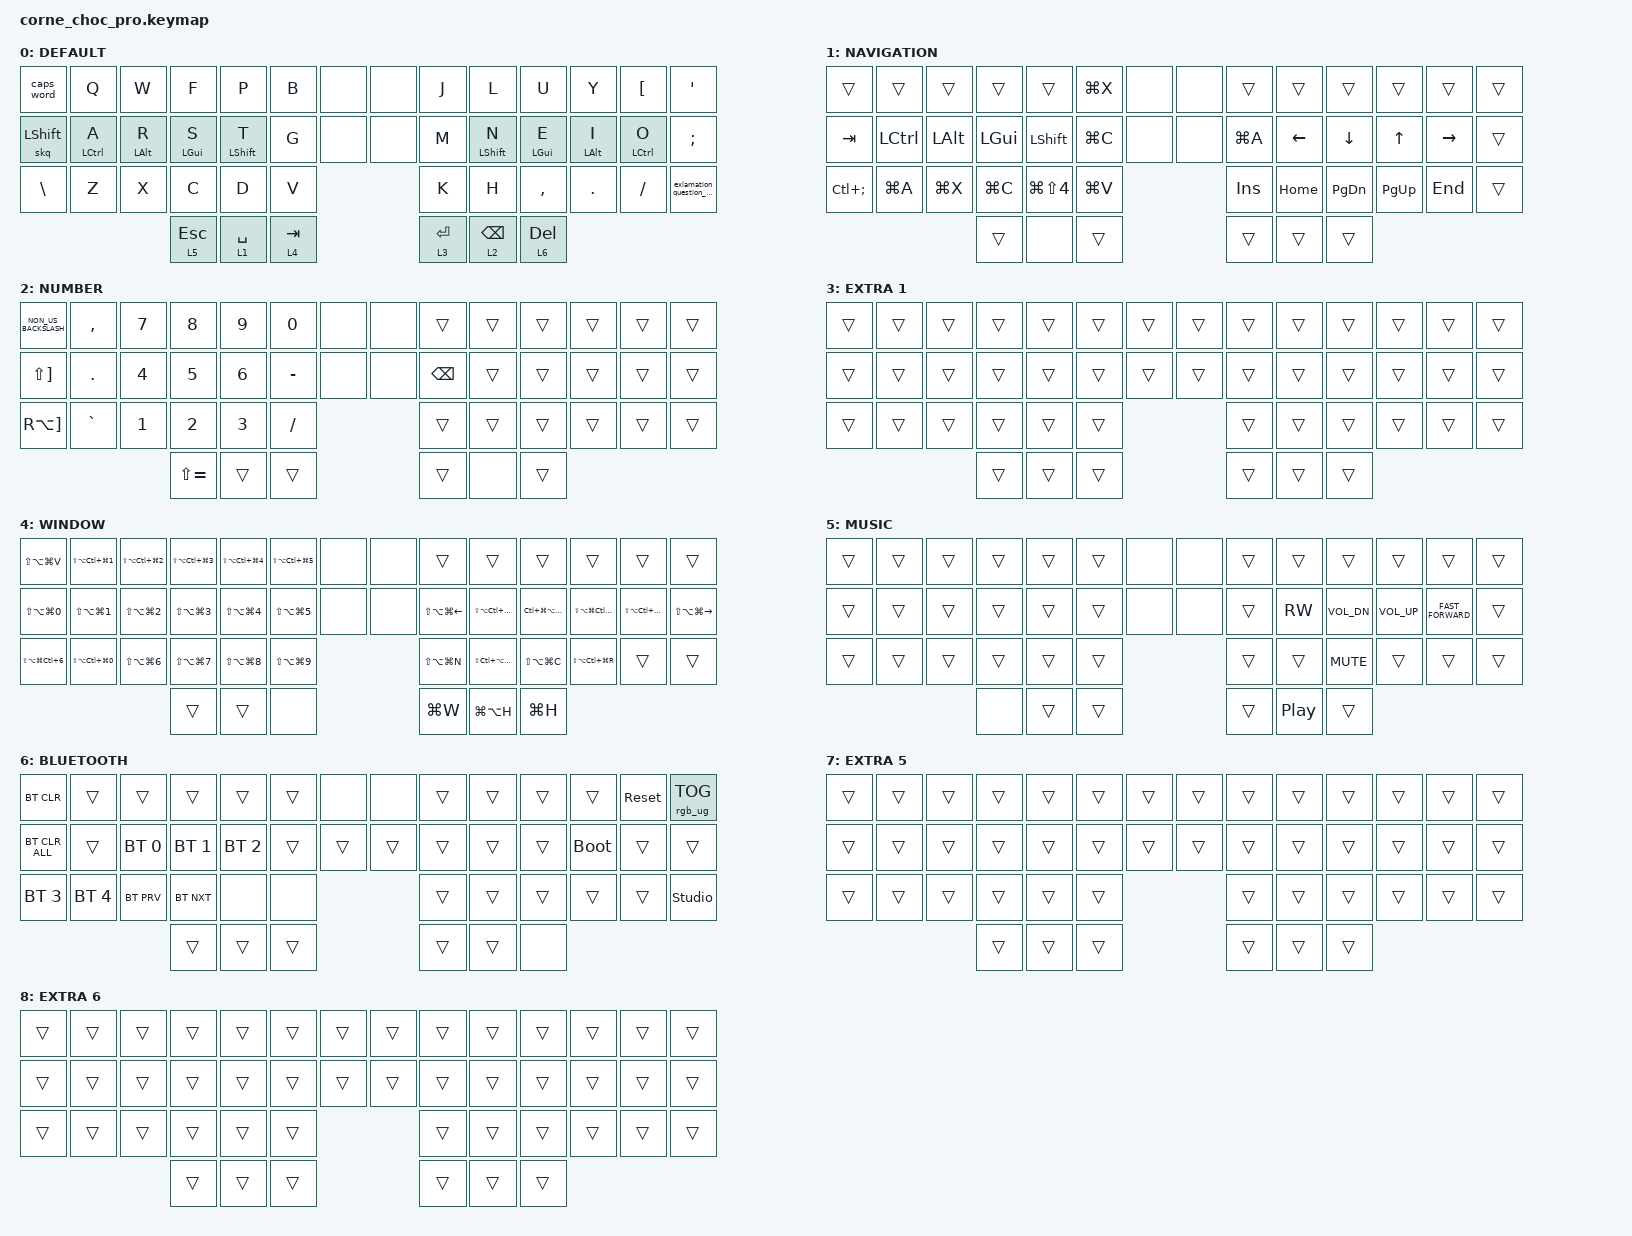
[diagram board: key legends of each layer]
/*
 * Copyright (c) 2020 The ZMK Contributors
 *
 * SPDX-License-Identifier: MIT
 */

#include <behaviors.dtsi>
#include <dt-bindings/zmk/keys.h>
#include <dt-bindings/zmk/bt.h>
#include <dt-bindings/zmk/rgb.h>

/*              Corne KEEBART
  ╭────────────────────────┬─────────┬────────────────────────╮ 
  │  0   1   2   3   4   5 │   6 7   │ 8   9   10  11  12  13 │ 
  │ 14  15  16  17  18  19 │  20 21  │ 22  23  24  25  26  27 │ 
  │ 28  29  30  31  32  33 │         │ 34  35  36  37  38  39 │ 
  │             40  41  42 │         │ 43  44  45             │ 
  ╰────────────────────────┴─────────┴────────────────────────╯             */

#define KEYS_L 0 1 2 3 4 5 14 15 16 17 18 19 28 29 30 31 32 33
#define KEYS_R 8 9 10 11 12 13 22 23 24 25 26 27 34 35 36 37 38 39
#define KEYS_T 40 41 42 43 44 45

// Homerow mods
#define HRM_BEHAVIOR "tap-preferred"
#define HRM_TAPPING_TERM_MS 180
#define HRM_REQUIRE_PRIOR_IDLE_MS 80
#define HRM_QUICK_TAP_MS 160
#define COMBO_TIMEOUT_MS 30
#define COMBO_REQUIRE_PRIOR_IDLE_MS 80

/ {
    chosen {
        zmk,physical-layout = &default_layout;
    };
};

/ {
    hml: homerow_mods_left {
        compatible = "zmk,behavior-hold-tap";
        label = "HOMEROW_MODS_LEFT";
        flavor =
        HRM_BEHAVIOR;
        tapping-term-ms = <HRM_TAPPING_TERM_MS>;
        quick-tap-ms = <HRM_QUICK_TAP_MS>;
        require-prior-idle-ms = <HRM_REQUIRE_PRIOR_IDLE_MS>;
        hold-trigger-key-positions = <KEYS_R KEYS_T>;
        hold-trigger-on-release;
        #binding-cells = <2>;
        bindings = <&kp>, <&kp>;
    };

    hmr: homerow_mods_right {
        compatible = "zmk,behavior-hold-tap";
        label = "HOMEROW_MODS_RIGHT";
        flavor =
        HRM_BEHAVIOR;
        tapping-term-ms = <HRM_TAPPING_TERM_MS>;
        quick-tap-ms = <HRM_QUICK_TAP_MS>;
        require-prior-idle-ms = <HRM_REQUIRE_PRIOR_IDLE_MS>;
        hold-trigger-key-positions = <KEYS_L KEYS_T>;
        hold-trigger-on-release;
        #binding-cells = <2>;
        bindings = <&kp>, <&kp>;
    };

    exlamation_question_mark: exlamation_question_mark {
        compatible = "zmk,behavior-mod-morph";
        label = "EXLAMATION_QUESTION_MARK";
        bindings = <&kp LS(NUMBER_1)>, <&kp MINUS>;

        #binding-cells = <0>;
        mods = <(MOD_LSFT)>;
        keep-mods = <(MOD_LSFT)>;
    };

    thumb_layers: thumb_layers {
        compatible = "zmk,behavior-hold-tap";
        label = "THUMB_LAYERS";
        flavor =
        HRM_BEHAVIOR;
        tapping-term-ms = <HRM_TAPPING_TERM_MS>;
        quick-tap-ms = <HRM_QUICK_TAP_MS>;
        require-prior-idle-ms = <HRM_REQUIRE_PRIOR_IDLE_MS>;
        hold-trigger-on-release;
        #binding-cells = <2>;
        bindings = <&mo>, <&kp>;
    };

    behaviors {
        skq: sticky_key_quick_release {
            compatible = "zmk,behavior-sticky-key";
            #binding-cells = <1>;
            bindings = <&kp>;
            release-after-ms = <1000>;
            quick-release;
            ignore-modifiers;
        };
    };

    combos {
        compatible = "zmk,combos";

        left_parenthesis {
            bindings = <&kp LS(N8)>;
            key-positions = <17 18>;
            layers = <0>;
            require-prior-idle-ms = <COMBO_REQUIRE_PRIOR_IDLE_MS>;
            timeout-ms = <COMBO_TIMEOUT_MS>;
        };

        right_parenthesis {
            bindings = <&kp LS(N9)>;
            key-positions = <23 24>;
            layers = <0>;
            require-prior-idle-ms = <COMBO_REQUIRE_PRIOR_IDLE_MS>;
            timeout-ms = <COMBO_TIMEOUT_MS>;
        };

        left_bracket {
            bindings = <&kp LA(N8)>;
            key-positions = <16 18>;
            timeout-ms = <COMBO_TIMEOUT_MS>;
            require-prior-idle-ms = <COMBO_REQUIRE_PRIOR_IDLE_MS>;
            layers = <0>;
        };

        right_bracket {
            bindings = <&kp LA(N9)>;
            key-positions = <23 25>;
            timeout-ms = <COMBO_TIMEOUT_MS>;
            require-prior-idle-ms = <COMBO_REQUIRE_PRIOR_IDLE_MS>;
            layers = <0>;
        };

        left_curly {
            bindings = <&kp LA(LS(N8))>;
            key-positions = <15 18>;
            timeout-ms = <COMBO_TIMEOUT_MS>;
            require-prior-idle-ms = <COMBO_REQUIRE_PRIOR_IDLE_MS>;
            layers = <0>;
        };

        right_curly {
            bindings = <&kp LA(LS(N9))>;
            key-positions = <23 26>;
            timeout-ms = <COMBO_TIMEOUT_MS>;
            require-prior-idle-ms = <COMBO_REQUIRE_PRIOR_IDLE_MS>;
            layers = <0>;
        };

        less_than {
            bindings = <&kp GRAVE>;
            key-positions = <17 19>;
            timeout-ms = <COMBO_TIMEOUT_MS>;
            require-prior-idle-ms = <COMBO_REQUIRE_PRIOR_IDLE_MS>;
            layers = <0>;
        };

        greater_than {
            bindings = <&kp LS(GRAVE)>;
            key-positions = <22 24>;
            timeout-ms = <COMBO_TIMEOUT_MS>;
            require-prior-idle-ms = <COMBO_REQUIRE_PRIOR_IDLE_MS>;
            layers = <0>;
        };

        equal {
            bindings = <&kp LS(N0)>;
            key-positions = <5 3>;
            timeout-ms = <COMBO_TIMEOUT_MS>;
            require-prior-idle-ms = <COMBO_REQUIRE_PRIOR_IDLE_MS>;
            layers = <0>;
        };

        star {
            bindings = <&kp LS(BACKSLASH)>;
            key-positions = <18 19>;
            timeout-ms = <COMBO_TIMEOUT_MS>;
            require-prior-idle-ms = <COMBO_REQUIRE_PRIOR_IDLE_MS>;
            layers = <0>;
        };

        quote {
            bindings = <&kp LS(NUMBER_2)>;
            key-positions = <31 32>;
            timeout-ms = <COMBO_TIMEOUT_MS>;
            require-prior-idle-ms = <COMBO_REQUIRE_PRIOR_IDLE_MS>;
            layers = <0>;
        };

        hash {
            bindings = <&kp LS(NUMBER_3)>;
            key-positions = <32 30>;
            timeout-ms = <COMBO_TIMEOUT_MS>;
            require-prior-idle-ms = <COMBO_REQUIRE_PRIOR_IDLE_MS>;
            layers = <0>;
        };

        tilde {
            bindings = <&kp RA(RIGHT_BRACKET)>;
            key-positions = <1 2>;
            timeout-ms = <COMBO_TIMEOUT_MS>;
            require-prior-idle-ms = <COMBO_REQUIRE_PRIOR_IDLE_MS>;
            layers = <0>;
        };

        plus {
            bindings = <&kp MINUS>;
            key-positions = <3 4>;
            timeout-ms = <COMBO_TIMEOUT_MS>;
            require-prior-idle-ms = <COMBO_REQUIRE_PRIOR_IDLE_MS>;
            layers = <0>;
        };

        forward_slash {
            bindings = <&kp LS(N7)>;
            key-positions = <4 2>;
            timeout-ms = <COMBO_TIMEOUT_MS>;
            require-prior-idle-ms = <COMBO_REQUIRE_PRIOR_IDLE_MS>;
            layers = <0>;
        };

        backward_slash {
            bindings = <&kp LS(LA(N7))>;
            key-positions = <2 3>;
            timeout-ms = <COMBO_TIMEOUT_MS>;
            require-prior-idle-ms = <COMBO_REQUIRE_PRIOR_IDLE_MS>;
            layers = <0>;
        };

        n_1 {
            bindings = <&kp NUMBER_1>;
            key-positions = <41 30>;
            timeout-ms = <COMBO_TIMEOUT_MS>;
            require-prior-idle-ms = <COMBO_REQUIRE_PRIOR_IDLE_MS>;
            layers = <0>;
        };

        n_2 {
            bindings = <&kp NUMBER_2>;
            key-positions = <41 31>;
            timeout-ms = <COMBO_TIMEOUT_MS>;
            require-prior-idle-ms = <COMBO_REQUIRE_PRIOR_IDLE_MS>;
            layers = <0>;
        };

        n_3 {
            bindings = <&kp NUMBER_3>;
            key-positions = <41 32>;
            timeout-ms = <COMBO_TIMEOUT_MS>;
            require-prior-idle-ms = <COMBO_REQUIRE_PRIOR_IDLE_MS>;
            layers = <0>;
        };

        n_4 {
            bindings = <&kp NUMBER_4>;
            key-positions = <41 16>;
            timeout-ms = <COMBO_TIMEOUT_MS>;
            require-prior-idle-ms = <COMBO_REQUIRE_PRIOR_IDLE_MS>;
            layers = <0>;
        };

        n_5 {
            bindings = <&kp N5>;
            key-positions = <41 17>;
            timeout-ms = <COMBO_TIMEOUT_MS>;
            require-prior-idle-ms = <COMBO_REQUIRE_PRIOR_IDLE_MS>;
            layers = <0>;
        };

        n_6 {
            bindings = <&kp NUMBER_6>;
            key-positions = <41 18>;
            timeout-ms = <COMBO_TIMEOUT_MS>;
            require-prior-idle-ms = <COMBO_REQUIRE_PRIOR_IDLE_MS>;
            layers = <0>;
        };

        n_7 {
            bindings = <&kp N7>;
            key-positions = <41 2>;
            timeout-ms = <COMBO_TIMEOUT_MS>;
            require-prior-idle-ms = <COMBO_REQUIRE_PRIOR_IDLE_MS>;
            layers = <0>;
        };

        n_8 {
            bindings = <&kp N8>;
            key-positions = <41 3>;
            timeout-ms = <COMBO_TIMEOUT_MS>;
            require-prior-idle-ms = <COMBO_REQUIRE_PRIOR_IDLE_MS>;
            layers = <0>;
        };

        n_9 {
            bindings = <&kp N9>;
            key-positions = <41 4>;
            timeout-ms = <COMBO_TIMEOUT_MS>;
            require-prior-idle-ms = <COMBO_REQUIRE_PRIOR_IDLE_MS>;
            layers = <0>;
        };

        n_0 {
            bindings = <&kp N0>;
            key-positions = <41 5>;
            timeout-ms = <COMBO_TIMEOUT_MS>;
            require-prior-idle-ms = <COMBO_REQUIRE_PRIOR_IDLE_MS>;
            layers = <0>;
        };

        underscore {
            bindings = <&kp LS(FSLH)>;
            key-positions = <35 36>;
            timeout-ms = <COMBO_TIMEOUT_MS>;
            require-prior-idle-ms = <COMBO_REQUIRE_PRIOR_IDLE_MS>;
            layers = <0>;
        };

        colon {
            bindings = <&kp LS(PERIOD)>;
            key-positions = <36 37>;
            timeout-ms = <COMBO_TIMEOUT_MS>;
            require-prior-idle-ms = <COMBO_REQUIRE_PRIOR_IDLE_MS>;
            layers = <0>;
        };

        semi_colon {
            bindings = <&kp LS(COMMA)>;
            key-positions = <35 37>;
            timeout-ms = <COMBO_TIMEOUT_MS>;
            require-prior-idle-ms = <COMBO_REQUIRE_PRIOR_IDLE_MS>;
            layers = <0>;
        };

        at_sign {
            bindings = <&kp LA(NUMBER_2)>;
            key-positions = <30 31>;
            timeout-ms = <COMBO_TIMEOUT_MS>;
            require-prior-idle-ms = <COMBO_REQUIRE_PRIOR_IDLE_MS>;
            layers = <0>;
        };

        ampersand {
            bindings = <&kp LS(NUMBER_6)>;
            key-positions = <32 33>;
            timeout-ms = <COMBO_TIMEOUT_MS>;
            require-prior-idle-ms = <COMBO_REQUIRE_PRIOR_IDLE_MS>;
            layers = <0>;
        };

        percent {
            bindings = <&kp LS(N5)>;
            key-positions = <32 29>;
            timeout-ms = <COMBO_TIMEOUT_MS>;
            require-prior-idle-ms = <COMBO_REQUIRE_PRIOR_IDLE_MS>;
            layers = <0>;
        };

        pipe {
            bindings = <&kp LA(N7)>;
            key-positions = <33 31>;
            timeout-ms = <COMBO_TIMEOUT_MS>;
            require-prior-idle-ms = <COMBO_REQUIRE_PRIOR_IDLE_MS>;
            layers = <0>;
        };

        string_literal {
            bindings = <&kp LS(EQUAL)>;
            key-positions = <22 23>;
            timeout-ms = <COMBO_TIMEOUT_MS>;
            require-prior-idle-ms = <COMBO_REQUIRE_PRIOR_IDLE_MS>;
            layers = <0>;
        };
    };
    keymap {
        compatible = "zmk,keymap";

        default_layer {
            display-name = "DEFAULT";
            bindings = <
                &caps_word              &kp Q                &kp W                  &kp F                  &kp P                  &kp B                 &none &none                 &kp J                  &kp L                      &kp U                   &kp Y            &kp LBKT      &kp SQT
                &skq LSHFT              &hml LCTRL A         &hml LEFT_ALT R        &hml LEFT_GUI S        &hml LEFT_SHIFT T      &kp G                 &none &none                 &kp M                  &hmr LSHIFT N              &hmr LGUI E             &hmr LEFT_ALT I  &hmr LCTRL O  &kp SEMI
                &kp BACKSLASH           &kp Z                &kp X                  &kp C                  &kp D                  &kp V                                             &kp K                  &kp H                      &kp COMMA               &kp DOT          &kp FSLH      &exlamation_question_mark
                                                                                    &thumb_layers 5 ESC    &thumb_layers 1 SPACE  &thumb_layers 4 TAB                               &thumb_layers 3 ENTER  &thumb_layers 2 BACKSPACE  &thumb_layers 6 DELETE
            >;
        };

        LAYER1 {
            display-name = "NAVIGATION";
            bindings = <
                &trans        &trans            &trans        &trans        &trans                &kp LG(X)  &none  &none  &trans      &trans    &trans         &trans        &trans     &trans
                &kp TAB       &kp LEFT_CONTROL  &kp LEFT_ALT  &kp LEFT_GUI  &kp LEFT_SHIFT        &kp LG(C)  &none  &none  &kp LG(A)   &kp LEFT  &kp DOWN       &kp UP_ARROW  &kp RIGHT  &trans
                &kp LC(SEMI)  &kp LG(A)         &kp LG(X)     &kp LG(C)     &kp LG(LS(NUMBER_4))  &kp LG(V)                &kp INSERT  &kp HOME  &kp PAGE_DOWN  &kp PAGE_UP   &kp END    &trans
                                                              &trans        &none                 &trans                   &trans      &trans    &trans
            >;
        };

        LAYER2 {
            display-name = "NUMBER";
            bindings = <
                &kp NON_US_BACKSLASH   &kp COMMA  &kp N7        &kp N8         &kp N9        &kp N0      &none  &none    &trans         &trans  &trans  &trans  &trans  &trans
                &kp LS(RIGHT_BRACKET)  &kp DOT    &kp NUMBER_4  &kp N5         &kp NUMBER_6  &kp MINUS   &none  &none    &kp BACKSPACE  &trans  &trans  &trans  &trans  &trans
                &kp RA(RIGHT_BRACKET)  &kp GRAVE  &kp NUMBER_1  &kp NUMBER_2   &kp NUMBER_3  &kp FSLH                    &trans         &trans  &trans  &trans  &trans  &trans
                                                                &kp LS(EQUAL)  &trans        &trans                      &trans         &none   &trans
            >;
        };

        LAYER3 {
            display-name = "EXTRA 1";
            bindings = <
                &trans &trans &trans &trans &trans &trans &trans &trans &trans &trans &trans &trans &trans &trans
                &trans &trans &trans &trans &trans &trans &trans &trans &trans &trans &trans &trans &trans &trans
                &trans &trans &trans &trans &trans &trans               &trans &trans &trans &trans &trans &trans
                                     &trans &trans &trans               &trans &trans &trans       
            >;
        };

        LAYER4 {
            display-name = "WINDOW";
            bindings = <
                &kp LS(LA(LG(V)))             &kp LS(LA(LC(LG(NUMBER_1))))  &kp LS(LA(LC(LG(NUMBER_2))))  &kp LS(LA(LC(LG(NUMBER_3))))  &kp LS(LA(LC(LG(NUMBER_4))))  &kp LS(LA(LC(LG(N5))))    &none  &none   &trans                &trans                    &trans                          &trans                        &trans                     &trans
                &kp LS(LA(LG(N0)))            &kp LS(LA(LG(NUMBER_1)))      &kp LS(LA(LG(NUMBER_2)))      &kp LS(LA(LG(NUMBER_3)))      &kp LS(LA(LG(NUMBER_4)))      &kp LS(LA(LG(NUMBER_5)))  &none  &none   &kp LS(LA(LG(LEFT)))  &kp LS(LA(LC(LG(LEFT))))  &kp LC(LG(LA(LS(DOWN_ARROW))))  &kp LS(LA(LG(LC(UP_ARROW))))  &kp LS(LA(LC(LG(RIGHT))))  &kp LS(LA(LG(RIGHT)))
                &kp LS(LA(LG(LC(NUMBER_6))))  &kp LS(LA(LC(LG(N0))))        &kp LS(LA(LG(NUMBER_6)))      &kp LS(LA(LG(N7)))            &kp LS(LA(LG(N8)))            &kp LS(LA(LG(N9)))                       &kp LS(LA(LG(N)))     &kp LS(LC(LA(LG(M))))     &kp LS(LA(LG(C)))               &kp LS(LA(LC(LG(R))))         &trans                     &trans
                                                                                                          &trans                        &trans                        &none                                    &kp LG(W)             &kp LG(LA(H))             &kp LG(H)
            >;
        };

        LAYER5 {
            display-name = "MUSIC";
            bindings = <
                &trans  &trans  &trans  &trans  &trans  &trans  &none  &none   &trans  &trans    &trans        &trans           &trans              &trans
                &trans  &trans  &trans  &trans  &trans  &trans  &none  &none   &trans  &kp C_RW  &kp C_VOL_DN  &kp C_VOLUME_UP  &kp C_FAST_FORWARD  &trans
                &trans  &trans  &trans  &trans  &trans  &trans                 &trans  &trans    &kp C_MUTE    &trans           &trans              &trans
                                        &none   &trans  &trans                 &trans  &kp C_PP  &trans
            >;
        };

        LAYER6 {
            display-name = "BLUETOOTH";
            bindings = <
                &bt BT_CLR      &trans  &trans        &trans        &trans        &trans      &none  &none  &trans  &trans  &trans  &trans &sys_reset   &rgb_ug RGB_TOG
                &bt BT_CLR_ALL  &trans  &bt BT_SEL 0  &bt BT_SEL 1  &bt BT_SEL 2  &trans                    &trans  &trans  &trans  &trans &trans       &bootloader
                &trans          &trans  &bt BT_SEL 3  &bt BT_SEL 4  &bt BT_PRV    &bt BT_NXT  &none  &none  &trans  &trans  &trans  &trans &trans       &studio_unlock
                                                      &trans        &trans        &trans                    &trans  &trans  &none
            >;
        };

        LAYER7 {
            display-name = "EXTRA 5";
            bindings = <
                &trans &trans &trans &trans &trans &trans &trans &trans &trans &trans &trans &trans &trans &trans
                &trans &trans &trans &trans &trans &trans &trans &trans &trans &trans &trans &trans &trans &trans
                &trans &trans &trans &trans &trans &trans               &trans &trans &trans &trans &trans &trans
                                     &trans &trans &trans               &trans &trans &trans       
            >;
        };

        LAYER8 {
            display-name = "EXTRA 6";
            bindings = <
                &trans &trans &trans &trans &trans &trans &trans &trans &trans &trans &trans &trans &trans &trans
                &trans &trans &trans &trans &trans &trans &trans &trans &trans &trans &trans &trans &trans &trans
                &trans &trans &trans &trans &trans &trans               &trans &trans &trans &trans &trans &trans
                                     &trans &trans &trans               &trans &trans &trans       
            >;
        };
    };
};
